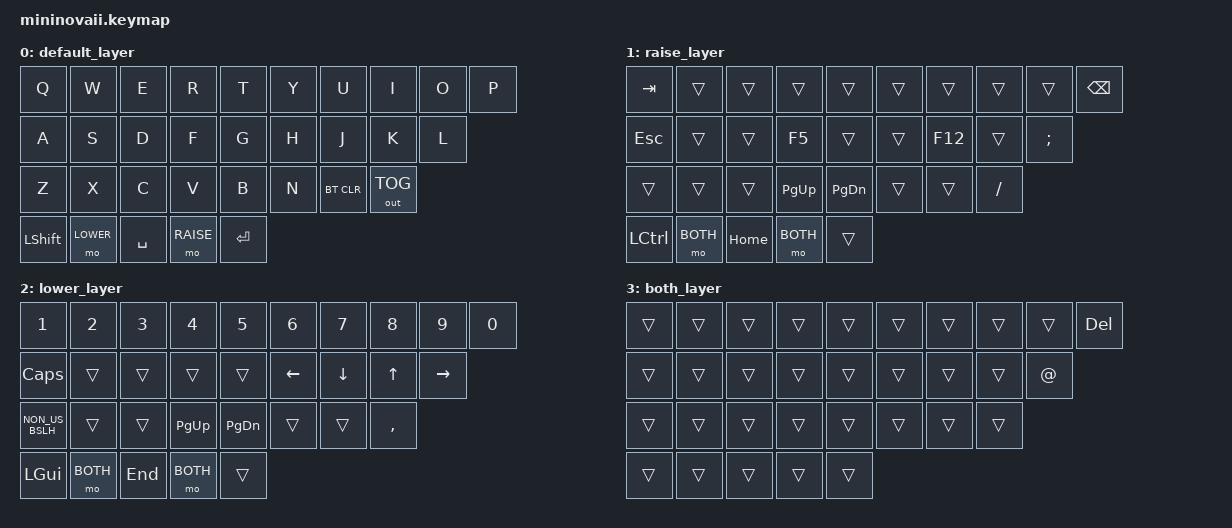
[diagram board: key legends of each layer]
/*
 * Copyright (c) 2021 The ZMK Contributors
 *
 * SPDX-License-Identifier: MIT
 */

#include <behaviors.dtsi>
#include <dt-bindings/zmk/keys.h>
#include <dt-bindings/zmk/bt.h>
#include <dt-bindings/zmk/outputs.h>

#define DEFAULT  0
#define RAISE    1
#define LOWER    2
#define BOTH     3

/ {
    keymap {
        compatible = "zmk,keymap";

        default_layer {
            bindings = <
    &kp Q      &kp W       &kp E      &kp R        &kp T      &kp Y     &kp U        &kp I     &kp O     &kp P
    &kp A      &kp S       &kp D      &kp F        &kp G      &kp H     &kp J        &kp K     &kp L
    &kp Z      &kp X       &kp C      &kp V        &kp B      &kp N     &bt BT_CLR   &out OUT_TOG
    &kp LSHIFT &mo LOWER   &kp SPACE  &mo RAISE    &kp ENTER
            >;
        };

        raise_layer {
            bindings = <
    &kp TAB    &trans    &trans     &trans     &trans     &trans  &trans    &trans    &trans    &kp BSPC
    &kp ESC    &trans    &trans     &kp F5     &trans     &trans  &kp F12   &trans    &kp SEMI
    &trans     &trans    &trans     &kp PG_UP  &kp PG_DN  &trans  &trans    &kp FSLH
    &kp LCTRL  &mo BOTH  &kp HOME   &mo BOTH   &trans
            >;
        };

        lower_layer {
            bindings = <
    &kp N1          &kp N2    &kp N3   &kp N4     &kp N5     &kp N6    &kp N7    &kp N8    &kp N9    &kp N0
    &kp CAPS        &trans    &trans   &trans     &trans     &kp LEFT  &kp DOWN  &kp UP    &kp RIGHT
    &kp NON_US_BSLH &trans    &trans   &kp PG_UP  &kp PG_DN  &trans    &trans    &kp COMMA
    &kp LGUI        &mo BOTH  &kp END  &mo BOTH   &trans
            >;
        };

        both_layer {
            bindings = <
    &trans  &trans   &trans  &trans    &trans  &trans &trans    &trans &trans &kp DEL
    &trans  &trans   &trans  &trans    &trans  &trans &trans    &trans &kp AT
    &trans  &trans   &trans  &trans    &trans  &trans &trans    &trans
    &trans  &trans   &trans  &trans    &trans
            >;
        };

    };
};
